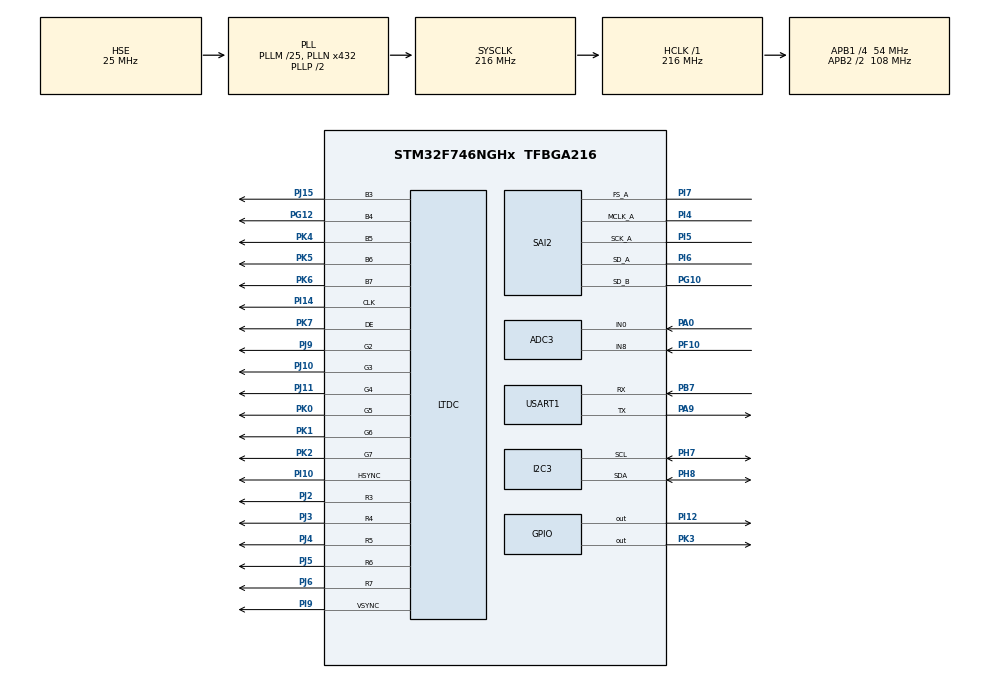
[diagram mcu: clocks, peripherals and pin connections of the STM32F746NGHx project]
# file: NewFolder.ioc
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ADC3.Channel-0\#ChannelRegularConversion=ADC_CHANNEL_0
ADC3.Channel-3\#ChannelRegularConversion=ADC_CHANNEL_8
ADC3.DMAContinuousRequests=ENABLE
ADC3.ExternalTrigConv=ADC_EXTERNALTRIGCONV_T2_CC2
ADC3.InjNumberOfConversion=0
ADC3.NbrOfConversion=2
ADC3.NbrOfConversionFlag=1
ADC3.Rank-0\#ChannelRegularConversion=1
ADC3.Rank-3\#ChannelRegularConversion=2
ADC3.SamplingTime-0\#ChannelRegularConversion=ADC_SAMPLETIME_3CYCLES
ADC3.SamplingTime-3\#ChannelRegularConversion=ADC_SAMPLETIME_3CYCLES
Dma.ADC3.0.Direction=DMA_PERIPH_TO_MEMORY
Dma.ADC3.0.FIFOMode=DMA_FIFOMODE_DISABLE
Dma.ADC3.0.Instance=DMA2_Stream0
Dma.ADC3.0.MemDataAlignment=DMA_MDATAALIGN_HALFWORD
Dma.ADC3.0.MemInc=DMA_MINC_ENABLE
Dma.ADC3.0.Mode=DMA_CIRCULAR
Dma.ADC3.0.PeriphDataAlignment=DMA_PDATAALIGN_HALFWORD
Dma.ADC3.0.PeriphInc=DMA_PINC_DISABLE
Dma.ADC3.0.Priority=DMA_PRIORITY_LOW
Dma.Request0=ADC3
Dma.Request1=SAI2_A
Dma.Request2=SAI2_B
Dma.SAI2_A.1.Direction=DMA_MEMORY_TO_PERIPH
Dma.SAI2_A.1.FIFOMode=DMA_FIFOMODE_DISABLE
Dma.SAI2_A.1.Instance=DMA2_Stream4
Dma.SAI2_A.1.MemDataAlignment=DMA_MDATAALIGN_WORD
Dma.SAI2_A.1.MemInc=DMA_MINC_ENABLE
Dma.SAI2_A.1.Mode=DMA_CIRCULAR
Dma.SAI2_A.1.PeriphDataAlignment=DMA_PDATAALIGN_WORD
Dma.SAI2_A.1.PeriphInc=DMA_PINC_DISABLE
Dma.SAI2_A.1.Priority=DMA_PRIORITY_LOW
Dma.SAI2_B.2.Direction=DMA_PERIPH_TO_MEMORY
Dma.SAI2_B.2.FIFOMode=DMA_FIFOMODE_DISABLE
Dma.SAI2_B.2.Instance=DMA2_Stream6
Dma.SAI2_B.2.MemDataAlignment=DMA_MDATAALIGN_WORD
Dma.SAI2_B.2.MemInc=DMA_MINC_ENABLE
Dma.SAI2_B.2.Mode=DMA_CIRCULAR
Dma.SAI2_B.2.PeriphDataAlignment=DMA_PDATAALIGN_WORD
Dma.SAI2_B.2.PeriphInc=DMA_PINC_DISABLE
Dma.SAI2_B.2.Priority=DMA_PRIORITY_LOW
I2C3.Timing=0x20404768
LTDC.ActiveH=272
LTDC.ActiveW=480
LTDC.Alpha_L0=255
LTDC.FBStartAdress_L0=0x20010400
LTDC.HBP=43
LTDC.HFP=8
LTDC.HSync=1
LTDC.ImageHeight_L0=272
LTDC.ImageWidth_L0=480
LTDC.Layers=0
LTDC.PixelFormat_L0=LTDC_PIXEL_FORMAT_RGB565
LTDC.VBP=12
LTDC.VFP=4
LTDC.VSync=12
LTDC.WindowX1_L0=480
LTDC.WindowY1_L0=272
Mcu.Family=STM32F7
Mcu.Name=STM32F746NGHx
Mcu.Package=TFBGA216
NVIC.DMA2_Stream0_IRQn=true\:0\:0\:false\:false\:true\:false\:true\:true
NVIC.DMA2_Stream4_IRQn=true\:0\:0\:false\:false\:true\:false\:true\:true
NVIC.DMA2_Stream6_IRQn=true\:0\:0\:false\:false\:true\:false\:true\:true
NVIC.I2C3_EV_IRQn=true\:0\:0\:false\:false\:true\:true\:true\:true
NVIC.PriorityGroup=NVIC_PRIORITYGROUP_4
NVIC.SAI2_IRQn=true\:0\:0\:false\:false\:true\:true\:true\:true
NVIC.USART1_IRQn=true\:0\:0\:false\:false\:true\:true\:true\:true
PA0/WKUP.Signal=ADCx_IN0
PA13.Mode=Trace_Asynchronous_SW
PA13.Signal=SYS_JTMS-SWDIO
PA14.Mode=Trace_Asynchronous_SW
PA14.Signal=SYS_JTCK-SWCLK
PA9.Mode=Asynchronous
PA9.Signal=USART1_TX
PB3.Mode=Trace_Asynchronous_SW
PB3.Signal=SYS_JTDO-SWO
PB7.Mode=Asynchronous
PB7.Signal=USART1_RX
PF10.Mode=IN8
PF10.Signal=ADC3_IN8
PG10.Mode=SAI_B_SyncSlave
PG10.Signal=SAI2_SD_B
PG12.Mode=RGB565
PG12.Signal=LTDC_B4
PH0/OSC_IN.Mode=HSE-External-Oscillator
PH0/OSC_IN.Signal=RCC_OSC_IN
PH1/OSC_OUT.Mode=HSE-External-Oscillator
PH1/OSC_OUT.Signal=RCC_OSC_OUT
PH7.Mode=I2C
PH7.Signal=I2C3_SCL
PH8.Mode=I2C
PH8.Signal=I2C3_SDA
PI10.Mode=RGB565
PI10.Signal=LTDC_HSYNC
PI12.PinState=GPIO_PIN_SET
PI12.Signal=GPIO_Output
PI14.Mode=RGB565
PI14.Signal=LTDC_CLK
PI4.Mode=SAI_A_MasterWithClock
PI4.Signal=SAI2_MCLK_A
PI5.Mode=SAI_A_MasterWithClock
PI5.Signal=SAI2_SCK_A
PI6.Mode=SAI_A_MasterWithClock
PI6.Signal=SAI2_SD_A
PI7.Mode=SAI_A_MasterWithClock
PI7.Signal=SAI2_FS_A
PI9.Mode=RGB565
PI9.Signal=LTDC_VSYNC
PJ10.Mode=RGB565
PJ10.Signal=LTDC_G3
PJ11.Mode=RGB565
PJ11.Signal=LTDC_G4
PJ15.Mode=RGB565
PJ15.Signal=LTDC_B3
PJ2.Mode=RGB565
PJ2.Signal=LTDC_R3
PJ3.Mode=RGB565
PJ3.Signal=LTDC_R4
PJ4.Mode=RGB565
PJ4.Signal=LTDC_R5
PJ5.Mode=RGB565
PJ5.Signal=LTDC_R6
PJ6.Mode=RGB565
PJ6.Signal=LTDC_R7
PJ9.Mode=RGB565
PJ9.Signal=LTDC_G2
PK0.Mode=RGB565
PK0.Signal=LTDC_G5
PK1.Mode=RGB565
PK1.Signal=LTDC_G6
PK2.Mode=RGB565
PK2.Signal=LTDC_G7
PK3.PinState=GPIO_PIN_SET
PK3.Signal=GPIO_Output
PK4.Mode=RGB565
PK4.Signal=LTDC_B5
PK5.Mode=RGB565
PK5.Signal=LTDC_B6
PK6.Mode=RGB565
PK6.Signal=LTDC_B7
PK7.Mode=RGB565
PK7.Signal=LTDC_DE
ProjectManager.HeapSize=0x800
ProjectManager.StackSize=0x1000
ProjectManager.TargetToolchain=MDK-ARM V5.27
RCC.AHBFreq_Value=216000000
RCC.APB1CLKDivider=RCC_HCLK_DIV4
RCC.APB1Freq_Value=54000000
RCC.APB1TimFreq_Value=108000000
RCC.APB2CLKDivider=RCC_HCLK_DIV2
RCC.APB2Freq_Value=108000000
RCC.APB2TimFreq_Value=216000000
RCC.CortexFreq_Value=216000000
RCC.HCLKFreq_Value=216000000
RCC.HSE_VALUE=25000000
RCC.HSI_VALUE=16000000
RCC.LSE_VALUE=32768
RCC.PLLI2SN=344
RCC.PLLI2SQ=7
RCC.PLLM=25
RCC.PLLN=432
RCC.PLLSAIN=200
RCC.PLLSAIR=5
RCC.PLLSAIRDiv=RCC_PLLSAIDIVR_4
RCC.PLLSourceVirtual=RCC_PLLSOURCE_HSE
RCC.SAI2CLockSelection=RCC_SAI2CLKSOURCE_PLLI2S
RCC.SYSCLKFreq_VALUE=216000000
RCC.SYSCLKSource=RCC_SYSCLKSOURCE_PLLCLK
RCC.USBFreq_Value=216000000
RCC.VCOOutputFreq_Value=432000000
SAI2.AudioFrequency-SAI_A_MasterWithClock=SAI_AUDIO_FREQUENCY_16K
SAI2.DataSize-SAI_B_SyncSlave=SAI_DATASIZE_16
SAI2.ErrorAudioFreq-SAI_A_MasterWithClock=-0.01 %
SAI2.FIFOThreshold-SAI_A_MasterWithClock=SAI_FIFOTHRESHOLD_1QF
SAI2.FIFOThreshold-SAI_B_SyncSlave=SAI_FIFOTHRESHOLD_1QF
SAI2.FrameLength-SAI_B_SyncSlave=8
SAI2.Instance-SAI_A_MasterWithClock=SAI$Index_Block_A
SAI2.Instance-SAI_B_SyncSlave=SAI$Index_Block_B
SAI2.MClockEnable-SAI_A_MasterWithClock=SAI_MASTERCLOCK_ENABLE
SAI2.RealAudioFreq-SAI_A_MasterWithClock=15.997 KHz
SAI2.SlotActive-SAI_B_SyncSlave=0x0000FFFF
SAI2.SlotNumber-SAI_B_SyncSlave=4
SAI2.VirtualMode-SAI_A_MasterWithClock=VM_MASTER
SAI2.VirtualMode-SAI_B_SyncSlave=VM_SLAVE
SAI2.VirtualSlotActive-SAI_B_SyncSlave=SAI_SLOTACTIVE_ALL
SH.ADCx_IN0.0=ADC3_IN0,IN0
TIM2.Channel-PWM\ Generation2\ No\ Output=TIM_CHANNEL_2
TIM2.Period=100-1
TIM2.Prescaler=10800-1
TIM2.Pulse-PWM\ Generation2\ No\ Output=10
USART1.VirtualMode-Asynchronous=VM_ASYNC
VP_TIM2_VS_ClockSourceINT.Mode=Internal
VP_TIM2_VS_no_output2.Mode=PWM Generation2 No Output
board=custom

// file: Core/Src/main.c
/* USER CODE BEGIN Header */
/**
  ******************************************************************************
  * @file           : main.c
  * @brief          : Main program body
  ******************************************************************************
  * @attention
  *
  * Copyright (c) 2023 STMicroelectronics.
  * All rights reserved.
  *
  * This software is licensed under terms that can be found in the LICENSE file
  * in the root directory of this software component.
  * If no LICENSE file comes with this software, it is provided AS-IS.
  *
  ******************************************************************************
  */
/* USER CODE END Header */
#include "main.h"
#include "adc.h"
#include "dma.h"
#include "i2c.h"
#include "ltdc.h"
#include "sai.h"
#include "tim.h"
#include "usart.h"
#include "gpio.h"

/* USER CODE BEGIN Includes */
#include "lvgl.h"
#include "lv_port_disp_template.h"
#include "lv_demo_widgets.h"
#include "lv_demo_benchmark.h"
#include "lv_port_indev_template.h"
#include "stdio.h"

#include "ui.h"
#include "ui_helpers.h"

#include "math.h"
#include "stm32746g_discovery_audio.h"

/* USER CODE END Includes */

/* USER CODE BEGIN PD */
//定义变量
uint16_t color=0x001f;
uint16_t LCD_DISP_BUF0[480*272]={0};

//ADC
uint16_t adc_buffer[100] = {0};
uint16_t adc_value;
uint16_t adc_value_min = 0x0670;
uint16_t adc_value_diff;
uint8_t ADCFlag = 0;

//audio
#define BUFSIZE 128
//float pi = 3.1415926;								//音频输入时的pi
static int16_t audio_input[BUFSIZE*2];//双声道数据
lv_coord_t array[BUFSIZE];   					//只显示左声道
uint8_t dispalyFlag = 0;

/* USER CODE END PD */

void SystemClock_Config(void);
void PeriphCommonClock_Config(void);

void HAL_ADC_ConvHalfCpltCallback(ADC_HandleTypeDef* hadc)
{

		adc_value = HAL_ADC_GetValue(&hadc3);//重要！！！！！adc_value要全局定义

		adc_value_diff = adc_value - adc_value_min ;

//		printf("%d",adc_value);
}

void BSP_AUDIO_IN_TransferComplete_CallBack()//输入缓冲区采集完成的回调函数
{
		if(dispalyFlag)
		{
				for(int i = 0; i< BUFSIZE; i++)
			  {
					array[i] = audio_input[i*2];
			  }
				dispalyFlag = 0;
		}
}

int main(void)
{

  /* MCU Configuration--------------------------------------------------------*/

  /* Reset of all peripherals, Initializes the Flash interface and the Systick. */
  HAL_Init();

  /* Configure the system clock */
  SystemClock_Config();

/* Configure the peripherals common clocks */
  PeriphCommonClock_Config();

  /* Initialize all configured peripherals */
  MX_GPIO_Init();
  MX_DMA_Init();
  MX_ADC3_Init();
  MX_TIM2_Init();
  MX_LTDC_Init();
  MX_I2C3_Init();
  MX_USART1_UART_Init();
  MX_SAI2_Init();
  /* USER CODE BEGIN 2 */
	HAL_TIM_PWM_Start(&htim2,TIM_CHANNEL_2);
	HAL_ADC_Start_DMA(&hadc3, (uint32_t*) adc_buffer,10);

	lv_init();
  lv_port_disp_init();
//	lv_port_indev_init();
	ui_init();

//	BSP_AUDIO_IN_Init(SAI_AUDIO_FREQUENCY_16K, DEFAULT_AUDIO_IN_BIT_RESOLUTION, 1);
//	BSP_AUDIO_IN_Record((uint16_t*)audio_input, BUFSIZE*2);
//

// 音频输入实验
//	for(int i=0; i<BUFSIZE; i++)
//	{
//		audio_input[i*2]=16384*sin(2*pi/32.0*i);				//左声道16KSPS,500Hz正弦波
//		audio_input[i*2+1]=audio_input[i*2];						//右声道16KSPS,500Hz正弦波
//		BSP_AUDIO_OUT_Init(OUTPUT_DEVICE_HEADPHONE, 70, SAI_AUDIO_FREQUENCY_16K);
//		BSP_AUDIO_OUT_SetAudioFrameSlot(CODEC_AUDIOFRAME_SLOT_02);				//左右声道一起输出
//		BSP_AUDIO_OUT_Play((uint16_t*)audio_input,BUFSIZE*2);							//选择输出缓冲区，size单位为字节
//	}

  /* USER CODE END 2 */

  /* Infinite loop */
  while (1)
  {

    /* USER CODE BEGIN 3 */
		HAL_Delay(1);
		lv_task_handler();
//		ui_refresh();

		if(dispalyFlag == 0)
		{
				lv_chart_refresh(ui_Chart2);
		}

  }
  /* USER CODE END 3 */
}

void SystemClock_Config(void)
{
  RCC_OscInitTypeDef RCC_OscInitStruct = {0};
  RCC_ClkInitTypeDef RCC_ClkInitStruct = {0};

  /** Configure the main internal regulator output voltage
  */
  __HAL_RCC_PWR_CLK_ENABLE();
  __HAL_PWR_VOLTAGESCALING_CONFIG(PWR_REGULATOR_VOLTAGE_SCALE1);

  /** Initializes the RCC Oscillators according to the specified parameters
  * in the RCC_OscInitTypeDef structure.
  */
  RCC_OscInitStruct.OscillatorType = RCC_OSCILLATORTYPE_HSE;
  RCC_OscInitStruct.HSEState = RCC_HSE_ON;
  RCC_OscInitStruct.PLL.PLLState = RCC_PLL_ON;
  RCC_OscInitStruct.PLL.PLLSource = RCC_PLLSOURCE_HSE;
  RCC_OscInitStruct.PLL.PLLM = 25;
  RCC_OscInitStruct.PLL.PLLN = 432;
  RCC_OscInitStruct.PLL.PLLP = RCC_PLLP_DIV2;
  RCC_OscInitStruct.PLL.PLLQ = 2;
  if (HAL_RCC_OscConfig(&RCC_OscInitStruct) != HAL_OK)
  {
    Error_Handler();
  }

  /** Activate the Over-Drive mode
  */
  if (HAL_PWREx_EnableOverDrive() != HAL_OK)
  {
    Error_Handler();
  }

  /** Initializes the CPU, AHB and APB buses clocks
  */
  RCC_ClkInitStruct.ClockType = RCC_CLOCKTYPE_HCLK|RCC_CLOCKTYPE_SYSCLK
                              |RCC_CLOCKTYPE_PCLK1|RCC_CLOCKTYPE_PCLK2;
  RCC_ClkInitStruct.SYSCLKSource = RCC_SYSCLKSOURCE_PLLCLK;
  RCC_ClkInitStruct.AHBCLKDivider = RCC_SYSCLK_DIV1;
  RCC_ClkInitStruct.APB1CLKDivider = RCC_HCLK_DIV4;
  RCC_ClkInitStruct.APB2CLKDivider = RCC_HCLK_DIV2;

  if (HAL_RCC_ClockConfig(&RCC_ClkInitStruct, FLASH_LATENCY_7) != HAL_OK)
  {
    Error_Handler();
  }
}

void PeriphCommonClock_Config(void)
{
  RCC_PeriphCLKInitTypeDef PeriphClkInitStruct = {0};

  /** Initializes the peripherals clock
  */
  PeriphClkInitStruct.PeriphClockSelection = RCC_PERIPHCLK_SAI2;
  PeriphClkInitStruct.PLLI2S.PLLI2SN = 344;
  PeriphClkInitStruct.PLLI2S.PLLI2SP = RCC_PLLP_DIV2;
  PeriphClkInitStruct.PLLI2S.PLLI2SR = 2;
  PeriphClkInitStruct.PLLI2S.PLLI2SQ = 7;
  PeriphClkInitStruct.PLLI2SDivQ = 1;
  PeriphClkInitStruct.Sai2ClockSelection = RCC_SAI2CLKSOURCE_PLLI2S;
  if (HAL_RCCEx_PeriphCLKConfig(&PeriphClkInitStruct) != HAL_OK)
  {
    Error_Handler();
  }
}

void Error_Handler(void)
{
  __disable_irq();
  while (1)
  {
  }
}
